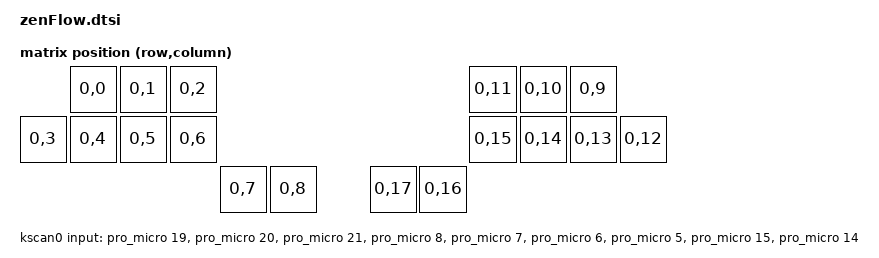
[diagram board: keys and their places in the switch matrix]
/*
 * Copyright (c) 2020 The ZMK Contributors
 *
 * SPDX-License-Identifier: MIT
 */

#include <dt-bindings/zmk/matrix_transform.h>
#include <physical_layouts.dtsi>
/ {

	chosen {
		zmk,kscan = &kscan0;
		zmk,matrix_transform = &default_transform;
	};

	default_transform: keymap_transform_0 {
		compatible = "zmk, matrix-transform, physical-layout";
		columns = <18>;
		rows = <1>;
		map = <
		         RC(0,0)  RC(0,1)  RC(0,2)  					  RC(0,11)  RC(0,10)  RC(0,9)
		RC(0,3)  RC(0,4)  RC(0,5)  RC(0,6)		 		RC(0,15)  RC(0,14)  RC(0,13)  RC(0,12)
		                                   RC(0,7)   RC(0,8)  RC(0,17)  RC(0,16)
		>;

		keys  //                     	 w   h    x    y     rot    rx    ry
            		= <&key_physical_attrs 100 100  100    0       0     0     0>
            		, <&key_physical_attrs 100 100  200    0       0     0     0>
            		, <&key_physical_attrs 100 100  300    0       0     0     0>
            		, <&key_physical_attrs 100 100  900    0       0     0     0>
            		, <&key_physical_attrs 100 100 1000    0       0     0     0>
           		, <&key_physical_attrs 100 100 1100    0       0     0     0>
            		, <&key_physical_attrs 100 100    0  100       0     0     0>
            		, <&key_physical_attrs 100 100  100  100       0     0     0>
            		, <&key_physical_attrs 100 100  200  100       0     0     0>
            		, <&key_physical_attrs 100 100  300  100       0     0     0>
            		, <&key_physical_attrs 100 100  900  100       0     0     0>
            		, <&key_physical_attrs 100 100 1000  100       0     0     0>
            		, <&key_physical_attrs 100 100 1100  100       0     0     0>
            		, <&key_physical_attrs 100 100 1200  100       0     0     0>
            		, <&key_physical_attrs 100 100  400  200       0     0     0>
            		, <&key_physical_attrs 100 100  500  200       0     0     0>
            		, <&key_physical_attrs 100 100  700  200       0     0     0>
            		, <&key_physical_attrs 100 100  800  200       0     0     0>
            		;
	};

    position_map {
        compatible = "zmk,physical-layout-position-map";

        default_transform {
            physical-layout = <&default_transform>;
            positions = <>;
        };
    };
	kscan0: kscan {
		compatible = "zmk,kscan-gpio-direct";
		label = "KSCAN";
		wakeup-source;
		input-gpios
		= <&pro_micro 19 (GPIO_ACTIVE_LOW | GPIO_PULL_UP)>
		, <&pro_micro 20 (GPIO_ACTIVE_LOW | GPIO_PULL_UP)>
		, <&pro_micro 21 (GPIO_ACTIVE_LOW | GPIO_PULL_UP)>
		, <&pro_micro 8 (GPIO_ACTIVE_LOW | GPIO_PULL_UP)>
		, <&pro_micro 7 (GPIO_ACTIVE_LOW | GPIO_PULL_UP)>
		, <&pro_micro 6 (GPIO_ACTIVE_LOW | GPIO_PULL_UP)>
		, <&pro_micro 5 (GPIO_ACTIVE_LOW | GPIO_PULL_UP)>
		, <&pro_micro 15 (GPIO_ACTIVE_LOW | GPIO_PULL_UP)>
		, <&pro_micro 14 (GPIO_ACTIVE_LOW | GPIO_PULL_UP)>
		;
	};
};
